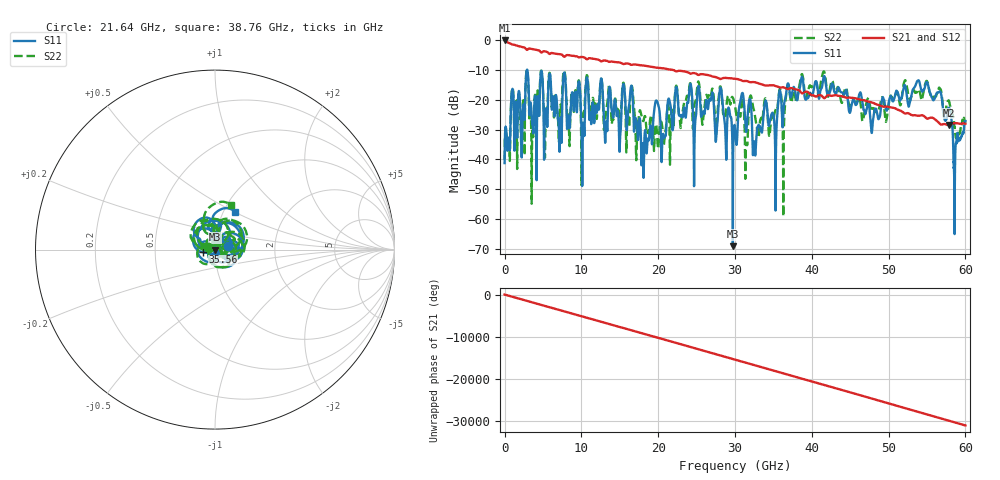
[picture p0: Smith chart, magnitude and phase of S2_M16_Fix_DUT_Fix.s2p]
! 10/25/2016 5:28:34 PM
! D:\S2_M16.S2P
! CHANNEL.1
! TR.MEASUREMENT
! CORRECTED.DATA
# GHZ S RI R 50.0
! FREQ.GHZ  S11RE  S11IM  S21RE  S21IM  S12RE  S12IM  S22RE  S22IM
!; PortSelection: Port_12
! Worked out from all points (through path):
!   10000 points, 6 MHz to 60 GHz, reference 50 ohm
!   highest |S21| = -0.07 dB at 6 MHz (marker M1); lowest = -28.5 dB at 57.8 GHz (marker M2)
!   lowest |S11| = -69.1 dB at 29.72 GHz (marker M3), VSWR 1.00, Z = 50 + j0.0323 ohm
!   |S11| at or under -10 dB: start of sweep to 2.897 GHz; 2.964 GHz to end of sweep
!   |S22| runs from -59.2 to -9.8 dB; largest |S21 - S12| = 0.0024
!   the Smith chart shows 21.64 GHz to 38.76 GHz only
!   S11 on the Smith chart (normalised r, x): 21.64 GHz: 1.16, +0.05; 35.56 GHz: 0.87, -0.03; 38.76 GHz: 1.13, +0.51
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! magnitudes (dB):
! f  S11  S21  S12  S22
! 6 MHz  -41.2  -0.1  -0.1  -40.1
! 2.928 GHz  -9.9  -3.2  -3.2  -9.8
! 3.498 GHz  -24.5  -2.9  -2.9  -35.4
! 4.806 GHz  -10.3  -4.1  -4.1  -10.2
! 10.01 GHz  -29.3  -5.6  -5.6  -46.5
! 16.46 GHz  -15.6  -8.2  -8.2  -16.3
! 18.03 GHz  -37.6  -8.5  -8.5  -27.1
! 20 GHz  -21.6  -9.3  -9.2  -36.5
! 20.65 GHz  -31.7  -9.4  -9.4  -32.6
! 21.64 GHz  -22.4  -9.9  -9.9  -27.4
! 28.15 GHz  -16.0  -13.0  -13.0  -15.7
! 29.72 GHz  -69.1  -12.9  -12.9  -19.3
! 30.01 GHz  -29.7  -12.9  -12.9  -22.1
! 30.88 GHz  -18.1  -13.5  -13.5  -20.4
! 32.54 GHz  -35.3  -14.1  -14.1  -24.4
! 35.56 GHz  -23.2  -15.5  -15.6  -22.1
! 38.76 GHz  -12.5  -17.8  -17.8  -11.5
! 40 GHz  -18.6  -18.5  -18.5  -15.7
! 50 GHz  -21.5  -22.4  -22.4  -21.8
! 57.8 GHz  -22.8  -28.5  -28.4  -20.2
! 58.64 GHz  -44.0  -27.8  -27.8  -30.4
! 60 GHz  -27.1  -28.0  -28.0  -26.6
